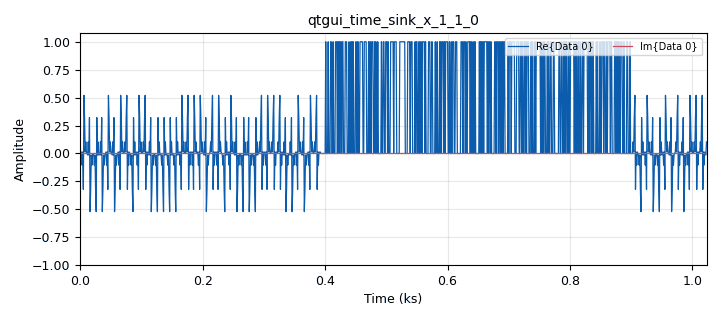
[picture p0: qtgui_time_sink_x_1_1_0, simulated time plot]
options:
  parameters:
    generate_options: qt_gui
    id: kerem
    output_language: python
  states: {}

blocks:
- name: dat_len
  id: variable
  parameters:
    value: '100'
  states: {}
- name: filt_len
  id: variable
  parameters:
    value: span*sps+1
  states: {}
- name: frame_len
  id: variable
  parameters:
    value: dat_len*filt_len
  states: {}
- name: freq
  id: variable_qtgui_range
  parameters:
    label: Frequency
    orient: Qt.Horizontal
    start: '0'
    step: '0.01'
    stop: '0.5'
    value: '0.25'
  states: {}
- name: inph
  id: variable
  parameters:
    value: numpy.multiply(rrrc,numpy.cos(numpy.array(range(filt_len))*2*math.pi*freq))
  states: {}
- name: quad
  id: variable
  parameters:
    value: numpy.multiply(rrrc,numpy.sin(numpy.array(range(filt_len))*2*math.pi*freq))
  states: {}
- name: rrrc
  id: variable_rrc_filter_taps
  parameters:
    alpha: '0.1'
    gain: '1.35'
    ntaps: filt_len
    samp_rate: samp_rate
    sym_rate: samp_rate/sps
  states: {}
- name: samp_rate
  id: variable
  parameters:
    value: '1000000'
  states: {}
- name: span
  id: variable
  parameters:
    value: '4'
  states: {}
- name: sps
  id: variable
  parameters:
    value: '2'
  states: {}
- name: analog_random_source_x_0_0
  id: analog_random_source_x
  parameters:
    max: '4'
    min: '0'
    num_samps: dat_len
    repeat: 'True'
    type: int
  states: {}
- name: blocks_add_xx_0
  id: blocks_add_xx
  parameters:
    type: float
  states: {}
- name: blocks_complex_to_float_0
  id: blocks_complex_to_float
  parameters: {}
  states: {}
- name: blocks_complex_to_float_1
  id: blocks_complex_to_float
  parameters: {}
  states: {state: disabled}
- name: blocks_complex_to_mag_squared_0
  id: blocks_complex_to_mag_squared
  parameters: {}
  states: {state: disabled}
- name: blocks_float_to_complex_0
  id: blocks_float_to_complex
  parameters: {}
  states: {}
- name: blocks_float_to_complex_1
  id: blocks_float_to_complex
  parameters: {}
  states: {state: disabled}
- name: blocks_keep_one_in_n_0
  id: blocks_keep_one_in_n
  parameters:
    n: filt_len
    type: complex
  states: {state: disabled}
- name: blocks_stream_demux_0
  id: blocks_stream_demux
  parameters:
    lengths: (1, 1)
    type: complex
  states: {state: disabled}
- name: blocks_throttle_1
  id: blocks_throttle
  parameters:
    samples_per_second: samp_rate
    type: complex
  states: {}
- name: blocks_vector_insert_x_0
  id: blocks_vector_insert_x
  parameters:
    offset: '0'
    period: filt_len+1
    type: float
    vector: '[0]*filt_len'
  states: {}
- name: blocks_vector_insert_x_0_0
  id: blocks_vector_insert_x
  parameters:
    offset: '0'
    period: filt_len+1
    type: float
    vector: '[0]*filt_len'
  states: {}
- name: blocks_vector_insert_x_1
  id: blocks_vector_insert_x
  parameters:
    offset: '0'
    period: dat_len*filt_len+1
    type: float
    vector: '[0,0,0,0,0,0,0,0,1,0,0,0,1,0,0,0,1,1,0,0,1,0,0,0,1,1,1,0,1,0,1,0,1,1,0,1,1,0,0,0,1,1,1,0,0,0,1,0,0,1,0,1,0,1,0,0,0,1,1,0,1,1,0,0,1,1,1,1,1,0,0,1,1,1,1,0,0,0,1,0,1,1,0,1,1,1,0,0,1,0,1,0,0,1,0,0,0,0,0,1,0,0,1,1,0,0,1,1,1,0,1,0,0,0,1,1,1,1,1,0,1,1,1,1,0,0,0,0,0,1,1,1,1,1,1,1,1,1,0,0,0,0,1,1,1,1,0,1,1,1,0,0,0,0,1,0,1,1,0,0,1,1,0,1,1,0,1,1,1,1,0,1,0,0,0,0,1,1,1,0,0,1,1,0,0,0,0,1,0,0,1,0,0,0,1,0,1,0,1,1,1,0,1,0,1,1,1,1,0,0,1,0,0,1,0,1,1,1,0,0,1,1,1,0,0,0,0,0,0,1,1,1,0,1,1,1,0,1,0,0,1,1,1,1,0,1,0,1,0,0,1,0,1,0,0,0,0,0,0,1,0,1,0,1,0,1,0,1,1,1,1,1,0,1,0,1,1,0,1,0,0,0,0,0,1,1,0,1,1,1,0,1,1,0,1,1,0,1,0,1,1,0,0,0,0,0,1,0,1,1,1,0,1,1,1,1,1,0,0,0,1,1,1,1,0,0,1,1,0,1,0,0,1,1,0,1,0,1,1,1,0,0,0,1,1,0,1,0,0,0,1,0,1,1,1,1,1,1,1,0,1,0,0,1,0,1,1,0,0,0,1,0,1,0,0,1,1,0,0,0,1,1,0,0,0,0,0,0,0,1,1,0,0,1,1,0,0,1,0,1,0,1,1,0,0,1,0,0,1,1,1,1,1,1,0,1,1,0,1,0,0,1,0,0,1,0,0,1,1,0,1,1,1,1,1,1,0,0,1,0,1,1,0,1,0,1,0,0,0,0,1,0,1,0,0,0,1,0,0,1,1,1,0,1,1,0,0,1,0,1,1,1,1,0,1,1,0,0,0,0,1,1,0,1,0,1,0,1,0,0,1,1,1,0,0,1,0,0,0,0,1,1,0,0,0,1,0,0,0,0]'
  states: {}
- name: digital_corr_est_cc_0
  id: digital_corr_est_cc
  parameters:
    mark_delay: '510'
    sps: '1'
    symbols: '[0,0,0,0,0,0,0,0,1,0,0,0,1,0,0,0,1,1,0,0,1,0,0,0,1,1,1,0,1,0,1,0,1,1,0,1,1,0,0,0,1,1,1,0,0,0,1,0,0,1,0,1,0,1,0,0,0,1,1,0,1,1,0,0,1,1,1,1,1,0,0,1,1,1,1,0,0,0,1,0,1,1,0,1,1,1,0,0,1,0,1,0,0,1,0,0,0,0,0,1,0,0,1,1,0,0,1,1,1,0,1,0,0,0,1,1,1,1,1,0,1,1,1,1,0,0,0,0,0,1,1,1,1,1,1,1,1,1,0,0,0,0,1,1,1,1,0,1,1,1,0,0,0,0,1,0,1,1,0,0,1,1,0,1,1,0,1,1,1,1,0,1,0,0,0,0,1,1,1,0,0,1,1,0,0,0,0,1,0,0,1,0,0,0,1,0,1,0,1,1,1,0,1,0,1,1,1,1,0,0,1,0,0,1,0,1,1,1,0,0,1,1,1,0,0,0,0,0,0,1,1,1,0,1,1,1,0,1,0,0,1,1,1,1,0,1,0,1,0,0,1,0,1,0,0,0,0,0,0,1,0,1,0,1,0,1,0,1,1,1,1,1,0,1,0,1,1,0,1,0,0,0,0,0,1,1,0,1,1,1,0,1,1,0,1,1,0,1,0,1,1,0,0,0,0,0,1,0,1,1,1,0,1,1,1,1,1,0,0,0,1,1,1,1,0,0,1,1,0,1,0,0,1,1,0,1,0,1,1,1,0,0,0,1,1,0,1,0,0,0,1,0,1,1,1,1,1,1,1,0,1,0,0,1,0,1,1,0,0,0,1,0,1,0,0,1,1,0,0,0,1,1,0,0,0,0,0,0,0,1,1,0,0,1,1,0,0,1,0,1,0,1,1,0,0,1,0,0,1,1,1,1,1,1,0,1,1,0,1,0,0,1,0,0,1,0,0,1,1,0,1,1,1,1,1,1,0,0,1,0,1,1,0,1,0,1,0,0,0,0,1,0,1,0,0,0,1,0,0,1,1,1,0,1,1,0,0,1,0,1,1,1,1,0,1,1,0,0,0,0,1,1,0,1,0,1,0,1,0,0,1,1,1,0,0,1,0,0,0,0,1,1,0,0,0,1,0,0,0,0]'
    threshold: '0.9'
    threshold_method: digital.THRESHOLD_ABSOLUTE
  states: {}
- name: epy_block_0
  id: epy_block
  parameters:
    _source_code: |
      """
      Embedded Python Blocks:

      Each time this file is saved, GRC will instantiate the first class it finds
      to get ports and parameters of your block. The arguments to __init__  will
      be the parameters. All of them are required to have default values!
      """

      import numpy as np
      from gnuradio import gr


      class blk(gr.sync_block):  # other base classes are basic_block, decim_block, interp_block
          """Embedded Python Block example - a simple multiply const"""

          def __init__(self, example_param=1.0):  # only default arguments here
              """arguments to this function show up as parameters in GRC"""
              gr.sync_block.__init__(
                  self,
                  name='QAM Modulator',   # will show up in GRC
                  in_sig=[np.int32],
                  out_sig=[np.complex64]
              )
              # if an attribute with the same name as a parameter is found,
              # a callback is registered (properties work, too).
              self.example_param = example_param

          def work(self, input_items, output_items):
              """example: multiply with constant"""
              for x in range(len(input_items[0])):
                  if input_items[0][x] == 0:
                      output_items[0][x] = -0.707 - 0.707j
                  elif input_items[0][x] == 1:
                      output_items[0][x] = -0.707 + 0.707j
                  elif input_items[0][x] == 2:
                      output_items[0][x] = 0.707 - 0.707j
                  else:
                      output_items[0][x] = 0.707 + 0.707j
              return len(output_items[0])
    example_param: '1.0'
  states: {}
- name: fir_filter_xxx_0
  id: fir_filter_xxx
  parameters:
    decim: '1'
    taps: quad
    type: fff
  states: {}
- name: fir_filter_xxx_0_0
  id: fir_filter_xxx
  parameters:
    decim: '1'
    taps: numpy.flip(quad)
    type: fff
  states: {state: disabled}
- name: fir_filter_xxx_1
  id: fir_filter_xxx
  parameters:
    decim: '1'
    taps: inph
    type: fff
  states: {}
- name: fir_filter_xxx_1_0
  id: fir_filter_xxx
  parameters:
    decim: '1'
    taps: numpy.flip(inph)
    type: fff
  states: {state: disabled}
- name: import_0
  id: import
  parameters:
    imports: import math,cmath,numpy
  states: {}
- name: qtgui_time_sink_x_0
  id: qtgui_time_sink_x
  parameters:
    size: '1024'
    srate: '1'
    tr_mode: qtgui.TRIG_MODE_TAG
    tr_tag: corr_est
    type: float
    update_time: '0.01'
    ymax: '70000'
  states: {state: disabled}
- name: qtgui_time_sink_x_1
  id: qtgui_time_sink_x
  parameters:
    size: '1024'
    srate: '1'
    tr_mode: qtgui.TRIG_MODE_TAG
    tr_tag: corr_est
    type: complex
    update_time: '1'
  states: {state: disabled}
- name: qtgui_time_sink_x_1_1
  id: qtgui_time_sink_x
  parameters:
    size: '1024'
    srate: '1'
    tr_mode: qtgui.TRIG_MODE_TAG
    tr_tag: corr_est
    type: complex
    update_time: '1'
  states: {state: disabled}
- name: qtgui_time_sink_x_1_1_0
  id: qtgui_time_sink_x
  parameters:
    size: '1024'
    srate: '1'
    tr_mode: qtgui.TRIG_MODE_TAG
    tr_tag: corr_est
    type: complex
    update_time: '1'
  states: {}

connections:
- [analog_random_source_x_0_0, '0', epy_block_0, '0']
- [blocks_add_xx_0, '0', blocks_vector_insert_x_1, '0']
- [blocks_complex_to_float_0, '0', blocks_vector_insert_x_0, '0']
- [blocks_complex_to_float_0, '1', blocks_vector_insert_x_0_0, '0']
- [blocks_complex_to_float_1, '0', fir_filter_xxx_0_0, '0']
- [blocks_complex_to_float_1, '0', fir_filter_xxx_1_0, '0']
- [blocks_complex_to_mag_squared_0, '0', qtgui_time_sink_x_0, '0']
- [blocks_float_to_complex_0, '0', blocks_throttle_1, '0']
- [blocks_float_to_complex_1, '0', blocks_keep_one_in_n_0, '0']
- [blocks_float_to_complex_1, '0', qtgui_time_sink_x_1, '0']
- [blocks_keep_one_in_n_0, '0', qtgui_time_sink_x_1_1, '0']
- [blocks_throttle_1, '0', digital_corr_est_cc_0, '0']
- [blocks_vector_insert_x_0, '0', fir_filter_xxx_1, '0']
- [blocks_vector_insert_x_0_0, '0', fir_filter_xxx_0, '0']
- [blocks_vector_insert_x_1, '0', blocks_float_to_complex_0, '0']
- [digital_corr_est_cc_0, '0', blocks_complex_to_float_1, '0']
- [digital_corr_est_cc_0, '0', qtgui_time_sink_x_1_1_0, '0']
- [digital_corr_est_cc_0, '1', blocks_complex_to_mag_squared_0, '0']
- [epy_block_0, '0', blocks_complex_to_float_0, '0']
- [fir_filter_xxx_0, '0', blocks_add_xx_0, '1']
- [fir_filter_xxx_0_0, '0', blocks_float_to_complex_1, '1']
- [fir_filter_xxx_1, '0', blocks_add_xx_0, '0']
- [fir_filter_xxx_1_0, '0', blocks_float_to_complex_1, '0']

metadata:
  file_format: 1
